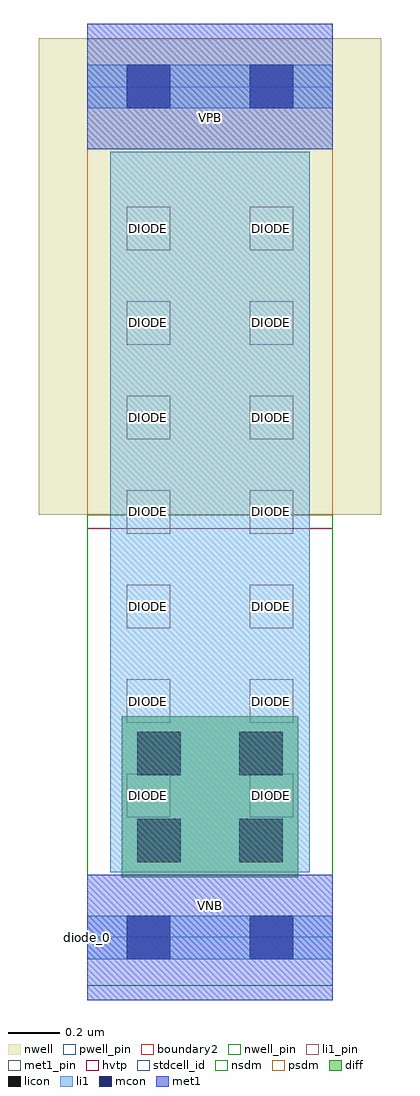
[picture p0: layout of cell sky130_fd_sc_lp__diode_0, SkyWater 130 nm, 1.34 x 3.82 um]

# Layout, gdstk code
import gdstk
lib = gdstk.Library(unit=1e-6, precision=1e-09)
def R(c, l, rs):  # rectangles x0, y0, x1, y1
    for r in rs: c.add(gdstk.rectangle(r[:2], r[2:], *l))
def A(c, l, x, y, w, h, nx, ny, dx, dy):  # array of equal rectangles
    R(c, l, [(x+i*dx, y+j*dy, x+i*dx+w, y+j*dy+h) for i in range(nx) for j in range(ny)])
nwell_pin = (64, 16)
nwell = (64, 20)
diff = (65, 20)
licon = (66, 44)
li1_pin = (67, 16)
li1 = (67, 20)
mcon = (67, 44)
met1_pin = (68, 16)
met1 = (68, 20)
hvtp = (78, 44)
stdcell_id = (81, 4)
nsdm = (93, 44)
psdm = (94, 20)
pwell_pin = (122, 16)
boundary2 = (236, 0)

sky130_fd_sc_lp__diode_0 = lib.new_cell('sky130_fd_sc_lp__diode_0')
R(sky130_fd_sc_lp__diode_0, nwell_pin, [(0,3.085,0.96,3.33)])
R(sky130_fd_sc_lp__diode_0, nwell, [(-0.19,1.655,1.15,3.52)])
R(sky130_fd_sc_lp__diode_0, diff, [(0.135,0.235,0.825,0.865)])
R(sky130_fd_sc_lp__diode_0, licon, [(0.195,0.295,0.365,0.465), (0.595,0.295,0.765,0.465), (0.195,0.635,0.365,0.805), (0.595,0.635,0.765,0.805)])
A(sky130_fd_sc_lp__diode_0, li1_pin, 0.155, 0.47, 0.17, 0.17, 1, 7, 0, 0.37)
A(sky130_fd_sc_lp__diode_0, li1_pin, 0.635, 0.47, 0.17, 0.17, 1, 7, 0, 0.37)
R(sky130_fd_sc_lp__diode_0, li1, [(0,-0.085,0.96,0.085), (0.09,0.255,0.87,3.075), (0,3.245,0.96,3.415)])
R(sky130_fd_sc_lp__diode_0, mcon, [(0.155,-0.085,0.325,0.085), (0.635,-0.085,0.805,0.085), (0.155,3.245,0.325,3.415), (0.635,3.245,0.805,3.415)])
R(sky130_fd_sc_lp__diode_0, met1_pin, [(0,0,0.96,0.245), (0,3.085,0.96,3.33)])
R(sky130_fd_sc_lp__diode_0, met1, [(0,-0.245,0.96,0.245), (0,3.085,0.96,3.575)])
R(sky130_fd_sc_lp__diode_0, hvtp, [(0,1.6,0.96,3.33)])
R(sky130_fd_sc_lp__diode_0, stdcell_id, [(0,0,0.96,3.33)])
R(sky130_fd_sc_lp__diode_0, nsdm, [(0,-0.19,0.96,1.655)])
R(sky130_fd_sc_lp__diode_0, psdm, [(0,1.655,0.96,3.52)])
R(sky130_fd_sc_lp__diode_0, pwell_pin, [(0,0,0.96,0.245)])
R(sky130_fd_sc_lp__diode_0, boundary2, [(0,0,0.96,3.33)])
sky130_fd_sc_lp__diode_0.add(gdstk.Label('VNB', (0.48,0.123), layer=64, texttype=59))
sky130_fd_sc_lp__diode_0.add(gdstk.Label('VPB', (0.48,3.208), layer=64, texttype=5))
sky130_fd_sc_lp__diode_0.add(gdstk.Label('DIODE', (0.72,2.775), layer=67, texttype=5))
sky130_fd_sc_lp__diode_0.add(gdstk.Label('DIODE', (0.24,0.925), layer=67, texttype=5))
sky130_fd_sc_lp__diode_0.add(gdstk.Label('DIODE', (0.72,0.925), layer=67, texttype=5))
sky130_fd_sc_lp__diode_0.add(gdstk.Label('DIODE', (0.24,0.555), layer=67, texttype=5))
sky130_fd_sc_lp__diode_0.add(gdstk.Label('DIODE', (0.72,2.405), layer=67, texttype=5))
sky130_fd_sc_lp__diode_0.add(gdstk.Label('DIODE', (0.72,1.295), layer=67, texttype=5))
sky130_fd_sc_lp__diode_0.add(gdstk.Label('DIODE', (0.72,2.035), layer=67, texttype=5))
sky130_fd_sc_lp__diode_0.add(gdstk.Label('DIODE', (0.24,2.035), layer=67, texttype=5))
sky130_fd_sc_lp__diode_0.add(gdstk.Label('DIODE', (0.24,2.405), layer=67, texttype=5))
sky130_fd_sc_lp__diode_0.add(gdstk.Label('DIODE', (0.24,2.775), layer=67, texttype=5))
sky130_fd_sc_lp__diode_0.add(gdstk.Label('DIODE', (0.72,0.555), layer=67, texttype=5))
sky130_fd_sc_lp__diode_0.add(gdstk.Label('DIODE', (0.24,1.665), layer=67, texttype=5))
sky130_fd_sc_lp__diode_0.add(gdstk.Label('DIODE', (0.72,1.665), layer=67, texttype=5))
sky130_fd_sc_lp__diode_0.add(gdstk.Label('DIODE', (0.24,1.295), layer=67, texttype=5))
sky130_fd_sc_lp__diode_0.add(gdstk.Label('diode_0', (0,0), layer=83, texttype=44))
sky130_fd_sc_lp__diode_0.add(gdstk.Label('VPWR', (0.48,3.208), layer=68, texttype=5))
sky130_fd_sc_lp__diode_0.add(gdstk.Label('VGND', (0.48,0.123), layer=68, texttype=5))

lib.write_gds('sky130_fd_sc_lp__diode_0.gds')
